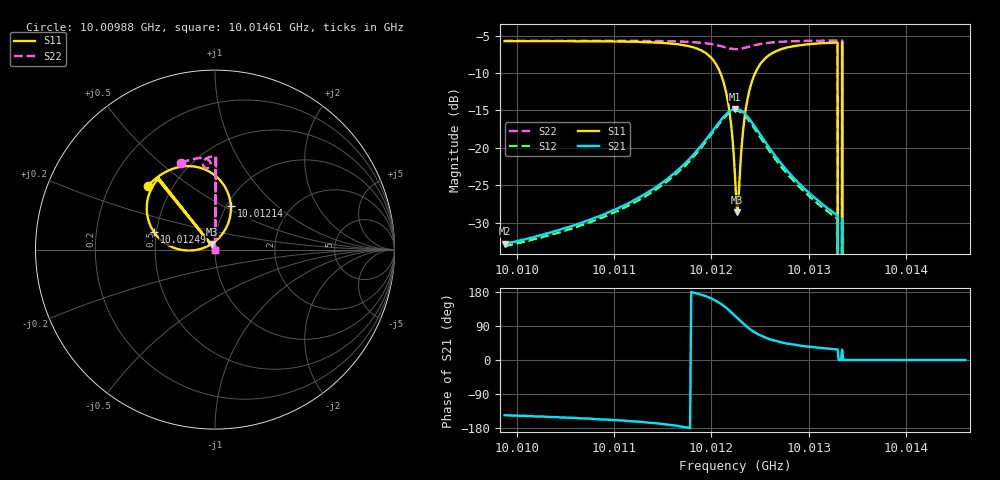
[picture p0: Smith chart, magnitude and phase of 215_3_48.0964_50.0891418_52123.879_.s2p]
#  HZ  S  RI  R  50.00
! Rohde & Schwarz Vector Network Analyzer
! Rohde-Schwarz,ZNB20-2Port,1311601062101988,3.16
! Created: UTC 12/23/2023, 3:56:11 AM
! freq[Hz]  re:S11  im:S11  re:S21  im:S21  re:S12  im:S12  re:S22  im:S22
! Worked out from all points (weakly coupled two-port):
!   401 points, 10.00988 GHz to 10.01461 GHz, reference 50 ohm
!   highest |S21| = -14.81 dB at 10.01224 GHz (marker M1); lowest = -32.8 dB at 10.00988 GHz (marker M2)
!   lowest |S11| = -28.6 dB at 10.01227 GHz (marker M3), VSWR 1.08, Z = 48.1 + j3.09 ohm
!   |S11| at or under -10 dB: 10.01209 GHz to 10.01245 GHz (358.5 kHz wide, 0.00358 % of centre); 10.0133 GHz to 10.01334 GHz (46.84 kHz wide, 0.000468 % of centre); 10.01334 GHz to end of sweep
!   |S22| runs from - to -5.7 dB; largest |S21 - S12| = 0.0088
!   S11 on the Smith chart (normalised r, x): 10.00988 GHz: 0.36, +0.35; 10.01214 GHz: 1.05, +0.55; 10.01249 GHz: 0.48, +0.11; 10.01461 GHz: 1.00, +0.00
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1.0009875e10  -0.3728 0.3565  -0.0189 -0.0129  -0.0175 -0.0134  -0.1894 0.4828
1.0010668e10  -0.3174 0.4061  -0.0284 -0.0139  -0.0267 -0.0148  -0.1388 0.5002
1.0011461e10  -0.212 0.4573  -0.0552 -0.012  -0.0523 -0.0143  -0.0809 0.5102
1.0011934e10  -0.027 0.4318  -0.1094 0.0208  -0.107 0.0146  -0.0355 0.4988
1.0012135e10  0.0882 0.2426  -0.1275 0.1027  -0.1293 0.0944  -0.025 0.4697
1.0012195e10  0.0708 0.1396  -0.1091 0.1392  -0.1126 0.1313  -0.0317 0.4593
1.0012242e10  0.0188 0.0623  -0.0813 0.1625  -0.0852 0.1554  -0.0411 0.4545
1.0012266e10  -0.0187 0.0321  -0.0643 0.1695  -0.0688 0.1628  -0.0464 0.4542
1.0012277e10  -0.0402 0.0198  -0.0554 0.1717  -0.06 0.1653  -0.0492 0.4545
1.0012325e10  -0.1299 -0.00477  -0.0196 0.1721  -0.0244 0.1661  -0.0589 0.4588
1.001236e10  -0.1943 -0.000236  0.00452 0.1643  -0.000906 0.1589  -0.0638 0.4646
1.001249e10  -0.3398 0.0976  0.0498 0.1155  0.0442 0.1118  -0.0657 0.4874
1.001268e10  -0.3805 0.2336  0.055 0.0636  0.05 0.0626  -0.0498 0.5066
1.0013035e10  -0.3479 0.3512  0.0396 0.0269  0.0365 0.0273  -0.0181 0.5183
1.0013271e10  -0.3217 0.3892  0.032 0.0172  0.0294 0.018  0.000724 0.5207
1.0013307e10  0 0  0 0  0 0  0 0
1.0013319e10  0 0  0 0  0 0  0 0
1.0013331e10  0 0  0 0  0 0  0 0
1.0013366e10  0 0  0 0  0 0  0 0
1.0013378e10  0 0  0 0  0 0  0 0
1.0013828e10  0 0  0 0  0 0  0 0
1.0014609e10  0 0  0 0  0 0  0 0
